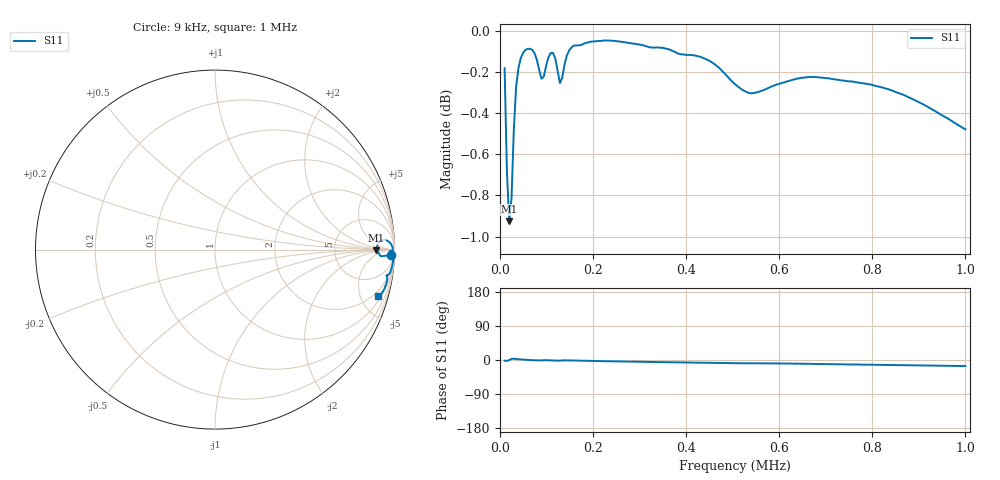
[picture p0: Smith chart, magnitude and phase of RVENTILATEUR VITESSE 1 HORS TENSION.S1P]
!Agilent Technologies,E5071C,MY46109397,A.09.54
!Date: Mon Jan 01 01:24:15 2001
!Data & Calibration Information:
!Freq	S11:SOLT1(ON)
# Hz S RI R 50
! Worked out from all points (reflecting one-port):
!   201 points, 9 kHz to 1 MHz, reference 50 ohm
!   lowest |S11| = -0.9 dB at 18.91 kHz (marker M1), VSWR 18.79, Z = 939 - j30.1 ohm
!   phase of S11 starts at -2 deg and turns -14 deg over the sweep
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9000  0.9788 -0.0311
13955  0.9237 -0.0373
18910  0.899 -0.00308
23865  0.9095 0.0433
28820  0.9448 0.0565
33775  0.9681 0.0448
43685  0.9845 0.0243
63505  0.99 -0.00168
78370  0.9838 -0.016
83325  0.9783 -0.0179
88280  0.9735 -0.0147
98190  0.9805 -0.00755
113055  0.9875 -0.0215
122965  0.9774 -0.0292
127920  0.9709 -0.0237
132875  0.974 -0.0155
142785  0.9861 -0.017
157650  0.9914 -0.0271
256750  0.9917 -0.0673
380625  0.9816 -0.1079
449995  0.9747 -0.1302
504500  0.9601 -0.1426
534230  0.9552 -0.1433
563960  0.9563 -0.1447
628375  0.9598 -0.1597
752250  0.9519 -0.1972
876125  0.935 -0.2336
1000000  0.9099 -0.2604
